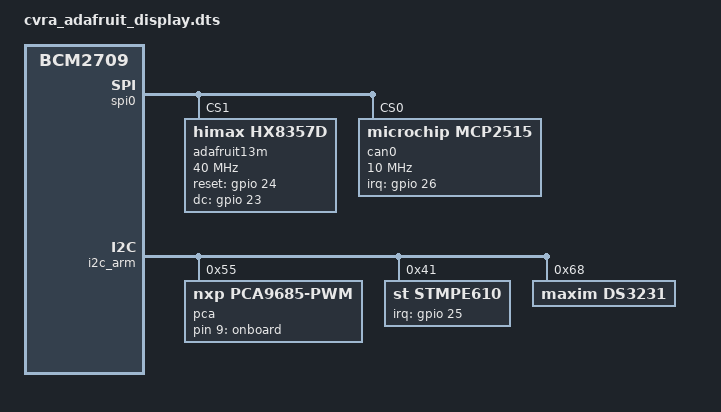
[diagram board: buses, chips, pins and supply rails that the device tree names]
/* Adafruit display device tree overlay for CVRA robot.

Wiring:
Brown: GND
Red: 5V
Orange: SCK (SPI0)
Yellow: MOSI (SPI0)
Green: D/C (GPIO23)
Blue: Reset (GPIO24)

The chip select is not wired in the prototype, it is statically pulled down.

To build this file:

dtc -@ -I dts -O dtb -o cvra_adafruit_display.dtbo cvra_adafruit_display.dts

Then move cvra_adafruit_display.dtbo on the pi to /boot/overlays and add

dtoverlay=cvra_adafruit_display to the boot config.
 */

/dts-v1/;
/plugin/;

/ {
    compatible = "brcm,bcm2835", "brcm,bcm2708", "brcm,bcm2709";

    /* First fragment disables the default SPI devices, as we want to add a
     * device to the bus. */
    fragment@0 {
        target = <&spi0>;
        __overlay__ {
            status = "okay";

            spidev@0{
                status = "disabled";
            };

            spidev@1{
                status = "disabled";
            };
        };
    };

  fragment@1 {
        target-path = "/";
        __overlay__ {
           canclock: fixedclock@20 {
               compatible = "fixed-clock";
               #clock-cells = <0>;
               clock-frequency = <20000000>;
               clock-accuracy = <100>;
           };
        };
    };

    /* This fragment reconfigures the GPIO 23 and 24 as outputs */
    fragment@2 {
        target = <&gpio>;
        __overlay__ {
            adafruit13m_pins: adafruit13m_pins {
                brcm,pins = <17 23 24>;
                brcm,function = <0 1 1>; /* out */
            };
        };
    };

    /* This fragment adds the display driver on the SPI bus. */
    fragment@3 {
        target = <&spi0>;
        __overlay__ {
            #address-cells = <1>;
            #size-cells = <0>;

            adafruit13m: adafruit13m@1{
                compatible = "himax,hx8357d";
                reg = <1>;
                pinctrl-names = "default";
                pinctrl-0 = <&adafruit13m_pins>;
                spi-max-frequency = <40000000>;
                buswidth = <8>;
                fps = <10>;
                rotate = <270>;
                reset-gpios = <&gpio 24 0>;
                dc-gpios = <&gpio 23 0>;
                debug = <0>;
                bgr;
            };

            can0: can@0 {
                compatible = "microchip,mcp2515";
                reg = <0>;
                spi-max-frequency = <10000000>;
                clocks = <&canclock>;
                interrupt-parent = <&gpio>;
                interrupts = <26 0x2>;
            };
        };
    };

    fragment@4 {
        target = <&i2c_arm>;
        __overlay__ {
            #address-cells = <1>;
            #size-cells = <0>;
            status = "okay";

            pca: pca@55 {
                compatible = "nxp,pca9685-pwm";
                #pwm-cells = <2>;
                reg = <0x55>;
            };

            stmpe610: stmpe610@41 {
                    compatible = "st,stmpe610";
                    reg = <0x41>;

                    interrupts = <25 0x4>;
                    interrupt-parent = <&gpio>;
                    interrupt-controller;

                    stmpe_touchscreen {
                        compatible = "st,stmpe-ts";
                        st,sample-time = <4>;
                        st,mod-12b = <1>;
                        st,ref-sel = <0>;
                        st,adc-freq = <1>;
                        st,ave-ctrl = <1>;
                        st,touch-det-delay = <2>;
                        st,settling = <2>;
                        st,fraction-z = <7>;
                        st,i-drive = <1>;
                    };
            };

            ds3231: ds3231@51 {
                compatible = "maxim,ds3231";
                reg = <0x68>;
                #clock-cells = <1>;
            };

        };
    };

  fragment@5 {
        target-path = "/";
        __overlay__ {
            pwmleds {
                compatible = "pwm-leds";
                onboard {
                    label = "onboard";
                    pwms = <&pca 9 6553070>;
                    max-brightness = <255>;
                };
           };
        };
    };

    __overrides__ {
        speed =      <&adafruit13m>,"spi-max-frequency:0";
        rotate =     <&adafruit13m>,"rotate:0";
        fps =        <&adafruit13m>,"fps:0";
        debug =      <&adafruit13m>,"debug:0";
    };
};
